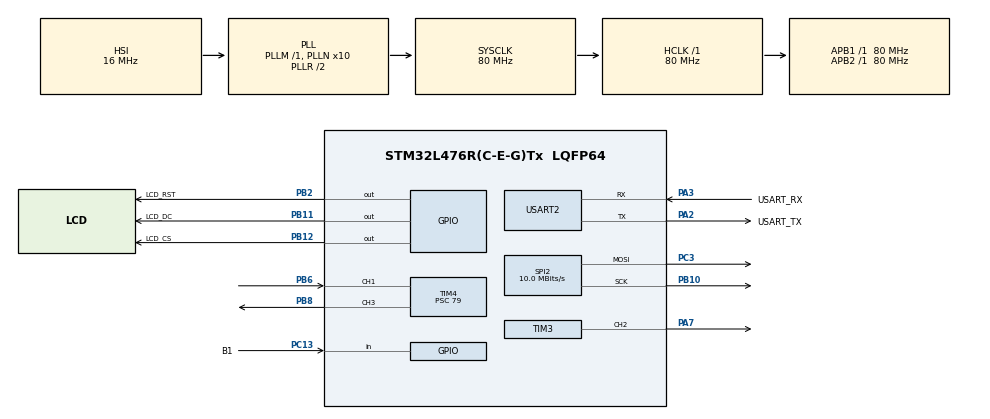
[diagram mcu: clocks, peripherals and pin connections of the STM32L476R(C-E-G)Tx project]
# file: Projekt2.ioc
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Dma.Request0=SPI2_TX
Dma.SPI2_TX.0.Direction=DMA_MEMORY_TO_PERIPH
Dma.SPI2_TX.0.Instance=DMA1_Channel5
Dma.SPI2_TX.0.MemDataAlignment=DMA_MDATAALIGN_BYTE
Dma.SPI2_TX.0.MemInc=DMA_MINC_ENABLE
Dma.SPI2_TX.0.Mode=DMA_NORMAL
Dma.SPI2_TX.0.PeriphDataAlignment=DMA_PDATAALIGN_BYTE
Dma.SPI2_TX.0.PeriphInc=DMA_PINC_DISABLE
Dma.SPI2_TX.0.Priority=DMA_PRIORITY_LOW
Mcu.Family=STM32L4
Mcu.Name=STM32L476R(C-E-G)Tx
Mcu.Package=LQFP64
NVIC.DMA1_Channel5_IRQn=true\:0\:0\:false\:false\:true\:false\:true\:true
NVIC.PriorityGroup=NVIC_PRIORITYGROUP_4
NVIC.TIM4_IRQn=true\:10\:0\:true\:false\:true\:true\:true\:true
NVIC.TIM6_DAC_IRQn=true\:9\:0\:true\:false\:true\:true\:true\:true
PA13\ (JTMS-SWDIO).GPIO_Label=TMS
PA13\ (JTMS-SWDIO).Mode=Serial_Wire
PA13\ (JTMS-SWDIO).Signal=SYS_JTMS-SWDIO
PA14\ (JTCK-SWCLK).GPIO_Label=TCK
PA14\ (JTCK-SWCLK).Mode=Serial_Wire
PA14\ (JTCK-SWCLK).Signal=SYS_JTCK-SWCLK
PA2.GPIO_Label=USART_TX
PA2.GPIO_Mode=GPIO_MODE_AF_PP
PA2.GPIO_PuPd=GPIO_NOPULL
PA2.GPIO_Speed=GPIO_SPEED_FREQ_VERY_HIGH
PA2.Mode=Asynchronous
PA2.Signal=USART2_TX
PA3.GPIO_Label=USART_RX
PA3.GPIO_Mode=GPIO_MODE_AF_PP
PA3.GPIO_PuPd=GPIO_NOPULL
PA3.GPIO_Speed=GPIO_SPEED_FREQ_VERY_HIGH
PA3.Mode=Asynchronous
PA3.Signal=USART2_RX
PA7.Signal=S_TIM3_CH2
PB10.Mode=TX_Only_Simplex_Unidirect_Master
PB10.Signal=SPI2_SCK
PB11.GPIO_Label=LCD_DC
PB11.Signal=GPIO_Output
PB12.GPIO_Label=LCD_CS
PB12.PinState=GPIO_PIN_SET
PB12.Signal=GPIO_Output
PB2.GPIO_Label=LCD_RST
PB2.Signal=GPIO_Output
PB3\ (JTDO-TRACESWO).GPIO_Label=SWO
PB3\ (JTDO-TRACESWO).Signal=SYS_JTDO-SWO
PB6.Signal=S_TIM4_CH1
PB8.Signal=S_TIM4_CH3
PC13.GPIO_Label=B1
PC13.Signal=GPIO_Input
PC3.Mode=TX_Only_Simplex_Unidirect_Master
PC3.Signal=SPI2_MOSI
ProjectManager.HeapSize=0x200
ProjectManager.StackSize=0x2000
ProjectManager.TargetToolchain=STM32CubeIDE
RCC.ADCFreq_Value=64000000
RCC.AHBFreq_Value=80000000
RCC.APB1Freq_Value=80000000
RCC.APB1TimFreq_Value=80000000
RCC.APB2Freq_Value=80000000
RCC.APB2TimFreq_Value=80000000
RCC.CortexFreq_Value=80000000
RCC.HCLKFreq_Value=80000000
RCC.HSE_VALUE=8000000
RCC.HSI_VALUE=16000000
RCC.LSE_VALUE=32768
RCC.MSI_VALUE=4000000
RCC.PLLN=10
RCC.PLLSourceVirtual=RCC_PLLSOURCE_HSI
RCC.PREFETCH_ENABLE=1
RCC.SYSCLKFreq_VALUE=80000000
RCC.SYSCLKSource=RCC_SYSCLKSOURCE_PLLCLK
RCC.USBFreq_Value=64000000
RCC.VCOOutputFreq_Value=160000000
SH.S_TIM3_CH2.0=TIM3_CH2,PWM Generation2 CH2
SH.S_TIM4_CH1.0=TIM4_CH1,Input_Capture1_from_TI1
SH.S_TIM4_CH3.0=TIM4_CH3,PWM Generation3 CH3
SPI2.BaudRatePrescaler=SPI_BAUDRATEPRESCALER_8
SPI2.CalculateBaudRate=10.0 MBits/s
SPI2.DataSize=SPI_DATASIZE_8BIT
SPI2.Direction=SPI_DIRECTION_2LINES
SPI2.Mode=SPI_MODE_MASTER
SPI2.VirtualType=VM_MASTER
TIM3.Channel-PWM\ Generation2\ CH2=TIM_CHANNEL_2
TIM3.Period=19999
TIM3.Prescaler=79
TIM3.Pulse-PWM\ Generation2\ CH2=1000
TIM4.Channel-Input_Capture1_from_TI1=TIM_CHANNEL_1
TIM4.Channel-Input_Capture2_from_TI1_63=TIM_CHANNEL_2
TIM4.Channel-PWM\ Generation3\ CH3=TIM_CHANNEL_3
TIM4.ICFilter_CH1=15
TIM4.ICPolarity_CH2=TIM_INPUTCHANNELPOLARITY_FALLING
TIM4.Period=19999
TIM4.Prescaler=79
TIM4.Pulse-PWM\ Generation3\ CH3=10
TIM6.Period=9999
TIM6.Prescaler=799
USART2.VirtualMode-Asynchronous=VM_ASYNC
VP_TIM3_VS_ClockSourceINT.Mode=Internal
VP_TIM4_VS_ClockSourceINT.Mode=Internal
VP_TIM4_VS_indirect_ch1.Mode=Input_Capture2_from_TI1_63
VP_TIM6_VS_ClockSourceINT.Mode=Enable_Timer
board=NUCLEO-L476RG

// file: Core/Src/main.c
/* USER CODE BEGIN Header */
/**
  ******************************************************************************
  * @file           : main.c
  * @brief          : Main program body
  ******************************************************************************
  * @attention
  *
  * Copyright (c) 2023 STMicroelectronics.
  * All rights reserved.
  *
  * This software is licensed under terms that can be found in the LICENSE file
  * in the root directory of this software component.
  * If no LICENSE file comes with this software, it is provided AS-IS.
  *
  ******************************************************************************
  */
/* USER CODE END Header */
#include "main.h"
#include "dma.h"
#include "spi.h"
#include "tim.h"
#include "usart.h"
#include "gpio.h"

/* USER CODE BEGIN Includes */
#include "hagl.h"
#include "font6x9.h"
#include "rgb565.h"
#include "lcd.h"
#include "servo.h"
#include <stdio.h>
/* USER CODE END Includes */

void SystemClock_Config(void);

/* USER CODE BEGIN 0 */
//51.29, 3.84
volatile bool state;
volatile uint8_t current_position;
volatile int pulse_width=699;
volatile uint8_t distance;

void HAL_SPI_TxCpltCallback(SPI_HandleTypeDef *hspi)
{
	if (hspi == &hspi2)
	{
		lcd_transfer_done();
	}
}
void HAL_TIM_PeriodElapsedCallback(TIM_HandleTypeDef *htim)
{
	 if (htim == &htim6) {
		 is_max_angle_180( STEP, pulse_width, &state);
		 adjust_rotation_direction(STEP, &pulse_width, state);
		 calc_current_position(pulse_width, &current_position);
		 __HAL_TIM_SET_COMPARE(&htim3, TIM_CHANNEL_2, pulse_width);
	 }
	 else if(htim==&htim4){
		 uint32_t start = HAL_TIM_ReadCapturedValue(&htim4, TIM_CHANNEL_1);
		 uint32_t stop = HAL_TIM_ReadCapturedValue(&htim4, TIM_CHANNEL_2);
		 distance=(stop-start)/58;
	 }
}

int __io_putchar(int ch)
{
  if (ch == '\n') {
    __io_putchar('\r');
  }

  HAL_UART_Transmit(&huart2, (uint8_t*)&ch, 1, HAL_MAX_DELAY);

  return 1;
}

/* USER CODE END 0 */

int main(void)
{

  /* MCU Configuration--------------------------------------------------------*/

  /* Reset of all peripherals, Initializes the Flash interface and the Systick. */
  HAL_Init();

  /* Configure the system clock */
  SystemClock_Config();

  /* Initialize all configured peripherals */
  MX_GPIO_Init();
  MX_DMA_Init();
  MX_SPI2_Init();
  MX_TIM3_Init();
  MX_TIM6_Init();
  MX_USART2_UART_Init();
  MX_TIM4_Init();
  /* USER CODE BEGIN 2 */
  lcd_init();
  hagl_backend_t *display=hagl_init();

  /* USER CODE END 2 */

  /* Infinite loop */
  /* USER CODE BEGIN WHILE */

  HAL_TIM_PWM_Start(&htim3, TIM_CHANNEL_2);
  HAL_TIM_Base_Start_IT(&htim6);
  HAL_TIM_Base_Start_IT(&htim4);
  HAL_TIM_IC_Start(&htim4, TIM_CHANNEL_1);
  HAL_TIM_IC_Start(&htim4, TIM_CHANNEL_2);
  HAL_TIM_PWM_Start(&htim4, TIM_CHANNEL_3);
  HAL_Delay(1000);

  hagl_fill_rectangle(display, 0, 0, 160, 128, BLACK);
  hagl_draw_circle(display,80 ,0, 64, RED);
  hagl_draw_circle(display,80 ,0, 120, RED);
  lcd_copy();
  HAL_Delay(300);

  uint8_t x;
  uint8_t y;

  while (1)
  {

	  if(distance>0 && distance<MAX_RANGE){
		  calc_disp_coordinates_math(current_position*10,distance, &x, &y, current_position);
		  hagl_fill_circle(display,x ,y, 2, GREEN);

		  lcd_copy();
		  while (lcd_is_busy()) {}
	  }
	  if((current_position==18)||(current_position==0)){
	  	  hagl_fill_rectangle(display, 0, 0, 160, 128, BLACK);
	  	  hagl_draw_circle(display,80 ,0, 64, RED);
	  	  hagl_draw_circle(display,80 ,0, 128, RED);

	  	  lcd_copy();
	  	  while (lcd_is_busy()) {}
	  }
    /* USER CODE END WHILE */

  }
}

void SystemClock_Config(void)
{
  RCC_OscInitTypeDef RCC_OscInitStruct = {0};
  RCC_ClkInitTypeDef RCC_ClkInitStruct = {0};

  /** Configure the main internal regulator output voltage
  */
  if (HAL_PWREx_ControlVoltageScaling(PWR_REGULATOR_VOLTAGE_SCALE1) != HAL_OK)
  {
    Error_Handler();
  }

  /** Initializes the RCC Oscillators according to the specified parameters
  * in the RCC_OscInitTypeDef structure.
  */
  RCC_OscInitStruct.OscillatorType = RCC_OSCILLATORTYPE_HSI;
  RCC_OscInitStruct.HSIState = RCC_HSI_ON;
  RCC_OscInitStruct.HSICalibrationValue = RCC_HSICALIBRATION_DEFAULT;
  RCC_OscInitStruct.PLL.PLLState = RCC_PLL_ON;
  RCC_OscInitStruct.PLL.PLLSource = RCC_PLLSOURCE_HSI;
  RCC_OscInitStruct.PLL.PLLM = 1;
  RCC_OscInitStruct.PLL.PLLN = 10;
  RCC_OscInitStruct.PLL.PLLP = RCC_PLLP_DIV7;
  RCC_OscInitStruct.PLL.PLLQ = RCC_PLLQ_DIV2;
  RCC_OscInitStruct.PLL.PLLR = RCC_PLLR_DIV2;
  if (HAL_RCC_OscConfig(&RCC_OscInitStruct) != HAL_OK)
  {
    Error_Handler();
  }

  /** Initializes the CPU, AHB and APB buses clocks
  */
  RCC_ClkInitStruct.ClockType = RCC_CLOCKTYPE_HCLK|RCC_CLOCKTYPE_SYSCLK
                              |RCC_CLOCKTYPE_PCLK1|RCC_CLOCKTYPE_PCLK2;
  RCC_ClkInitStruct.SYSCLKSource = RCC_SYSCLKSOURCE_PLLCLK;
  RCC_ClkInitStruct.AHBCLKDivider = RCC_SYSCLK_DIV1;
  RCC_ClkInitStruct.APB1CLKDivider = RCC_HCLK_DIV1;
  RCC_ClkInitStruct.APB2CLKDivider = RCC_HCLK_DIV1;

  if (HAL_RCC_ClockConfig(&RCC_ClkInitStruct, FLASH_LATENCY_4) != HAL_OK)
  {
    Error_Handler();
  }
}

void Error_Handler(void)
{
  __disable_irq();
  while (1)
  {
  }
}
